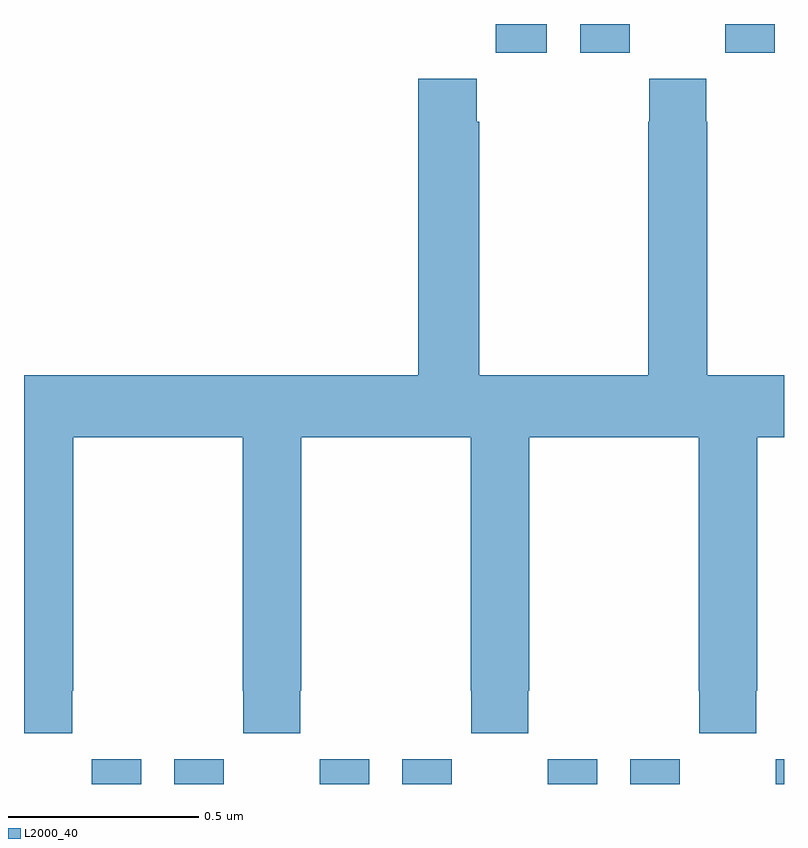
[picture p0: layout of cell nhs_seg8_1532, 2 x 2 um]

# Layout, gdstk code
import gdstk
lib = gdstk.Library(unit=1e-6, precision=1e-09)
def R(c, l, rs):  # rectangles x0, y0, x1, y1
    for r in rs: c.add(gdstk.rectangle(r[:2], r[2:], *l))
def P(c, l, *ps):  # polygons
    for p in ps: c.add(gdstk.Polygon(p, *l))
L2000_40 = (2000, 40)

nhs_seg8_1532 = lib.new_cell('nhs_seg8_1532')
R(nhs_seg8_1532, L2000_40, [(131.178,1136.9,131.308,1136.965), (131.396,1136.9,131.526,1136.965), (131.778,1136.9,131.908,1136.965), (131.996,1136.9,132.126,1136.965), (132.378,1136.9,132.508,1136.965), (132.596,1136.9,132.726,1136.965), (132.978,1136.9,133,1136.965), (132.242,1138.824,132.376,1138.9), (132.464,1138.824,132.594,1138.9), (132.846,1138.824,132.976,1138.9)])
P(nhs_seg8_1532, L2000_40, [(131.127,1137.145),(131.13,1137.145),(131.13,1137.812),(131.575,1137.812),(131.575,1137.145),(131.577,1137.145),(131.577,1137.033),(131.727,1137.033),(131.727,1137.145),(131.73,1137.145),(131.73,1137.812),(132.175,1137.812),(132.175,1137.145),(132.177,1137.145),(132.177,1137.033),(132.327,1137.033),(132.327,1137.145),(132.33,1137.145),(132.33,1137.812),(132.775,1137.812),(132.775,1137.145),(132.777,1137.145),(132.777,1137.033),(132.927,1137.033),(132.927,1137.145),(132.93,1137.145),(132.93,1137.812),(133,1137.812),(133,1137.976),(132.798,1137.976),(132.798,1138.643),(132.795,1138.643),(132.795,1138.756),(132.645,1138.756),(132.645,1138.643),(132.643,1138.643),(132.643,1137.976),(132.198,1137.976),(132.198,1138.643),(132.191,1138.643),(132.191,1138.756),(132.038,1138.756),(132.038,1137.976),(131,1137.976),(131,1137.033),(131.127,1137.033)])

lib.write_gds('nhs_seg8_1532.gds')
